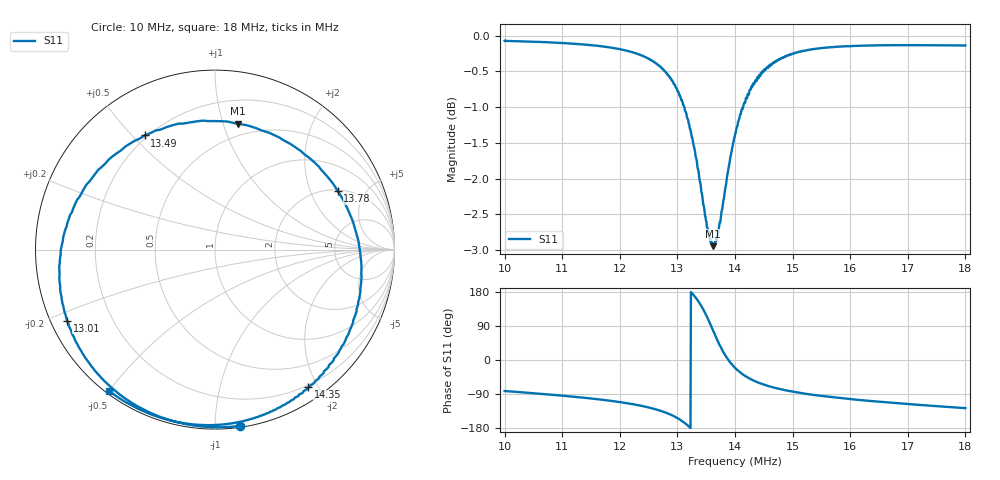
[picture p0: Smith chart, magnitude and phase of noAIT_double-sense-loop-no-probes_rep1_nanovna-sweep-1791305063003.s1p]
! NanoVNA Web complex sweep
! Processing: unaveraged complex samples; linear segment spacing; no smoothing
# Hz S RI R 50
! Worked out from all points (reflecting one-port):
!   1010 points, 10 MHz to 18 MHz, reference 50 ohm
!   lowest |S11| = -2.9 dB at 13.62 MHz (marker M1), VSWR 5.95, Z = 19.7 + j56 ohm
!   phase of S11 starts at -82 deg and turns -405 deg over the sweep
!   S11 on the Smith chart (normalised r, x): 10 MHz: 0.01, -1.15; 13.01 MHz: 0.05, -0.23; 13.49 MHz: 0.19, +0.54; 13.78 MHz: 2.06, +3.16; 14.35 MHz: 0.17, -1.87; 18 MHz: 0.01, -0.50
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1e7  0.1408 -0.9819
1.100698e7  -0.0712 -0.9857
1.200604e7  -0.3536 -0.9123
1.234698e7  -0.4862 -0.8392
1.261657e7  -0.6134 -0.7351
1.283065e7  -0.728 -0.5934
1.300509e7  -0.8188 -0.4065
1.301302e7  -0.8241 -0.3955
1.317953e7  -0.8674 -0.1107
1.329846e7  -0.8147 0.1701
1.339361e7  -0.6685 0.4207
1.348876e7  -0.391 0.6359
1.356012e7  -0.1059 0.7139
1.361562e7  0.1281 0.7008
1.369491e7  0.4469 0.5705
1.378213e7  0.6835 0.3269
1.382971e7  0.7617 0.1737
1.388521e7  0.807 0.000784
1.400414e7  0.7974 -0.3061
1.407551e7  0.7497 -0.4516
1.416272e7  0.6803 -0.5857
1.434509e7  0.5207 -0.7675
1.462261e7  0.3163 -0.9012
1.50032e7  0.1082 -0.9657
1.545515e7  -0.0677 -0.9774
1.600225e7  -0.2244 -0.9571
1.700131e7  -0.4349 -0.8839
1.800036e7  -0.5932 -0.7857
